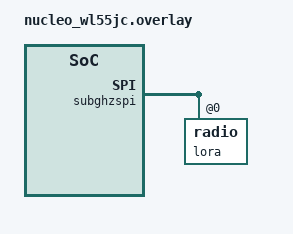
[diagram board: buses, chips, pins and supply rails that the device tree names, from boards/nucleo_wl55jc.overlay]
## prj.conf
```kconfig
# General Zephyr settings
CONFIG_MAIN_STACK_SIZE=2048
CONFIG_SYSTEM_WORKQUEUE_STACK_SIZE=2048
CONFIG_THREAD_NAME=y
# Disable logs
CONFIG_LOG=n

# LoRa PHY and required peripherals
CONFIG_LORA=y
CONFIG_LORA_SX12XX=y
CONFIG_SPI=y
CONFIG_GPIO=y

# NVS required to store LoRaWAN DevNonce
CONFIG_NVS=y
CONFIG_SETTINGS=y

# Random number generator required for several LoRaWAN services
CONFIG_ENTROPY_GENERATOR=y

# LoRaWAN application layer
CONFIG_LORAWAN=y
CONFIG_LORAMAC_REGION_EU868=y
CONFIG_LORAWAN_NVM_SETTINGS=y

# LoRaWAN services required for FUOTA
CONFIG_LORAWAN_SERVICES=y
CONFIG_LORAWAN_APP_CLOCK_SYNC=y
CONFIG_LORAWAN_REMOTE_MULTICAST=y
CONFIG_LORAWAN_FRAG_TRANSPORT=y
# Reduce RAM usage. Increasing min frag size results
# in less required array size of cached fragments
CONFIG_LORAWAN_FRAG_TRANSPORT_MIN_FRAG_SIZE=200
# Set high redundancy
CONFIG_LORAWAN_FRAG_TRANSPORT_MAX_REDUNDANCY=40

# Flash driver to store firmware image
CONFIG_FLASH=y
CONFIG_FLASH_MAP=y
CONFIG_FLASH_PAGE_LAYOUT=y
CONFIG_IMG_MANAGER=y

# Application-side MCUboot configuration
CONFIG_BOOTLOADER_MCUBOOT=y
CONFIG_MCUBOOT_IMG_MANAGER=y
CONFIG_MCUBOOT_SIGNATURE_KEY_FILE="bootloader/mcuboot/root-ec-p256.pem"
CONFIG_MCUBOOT_GENERATE_CONFIRMED_IMAGE=y
```

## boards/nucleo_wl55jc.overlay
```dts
/ {
	chosen {
		zephyr,code-partition = &slot0_partition;
	};
};

/delete-node/ &storage_partition;

&subghzspi {
	lora: radio@0 {
        rfo-low-power;
	};
};

&flash0 {
	partitions {
		compatible = "fixed-partitions";
		#address-cells = <1>;
		#size-cells = <1>;

		boot_partition: partition@0 {
			label = "mcuboot";
			reg = <0x00000000 0xc000>;
		};
		slot0_partition: partition@c000 {
			label = "image-0";
			reg = <0x0000C000 0x16800>;
		};
		slot1_partition: partition@22800 {
			label = "image-1";
			reg = <0x00022800 0x16800>;
		};
		scratch_partition: partition@39000 {
			label = "image-scratch";
			reg = <0x00039000 0x5000>;
		};
		storage_partition: partition@3e000 {
			label = "storage";
			reg = <0x0003e000 0x00002000>;
		};
	};
};
```

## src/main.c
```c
/*
 * LoRaWAN FUOTA sample application
 *
 * Copyright (c) 2022 Martin Jäger <martin@libre.solar>
 * Copyright (c) 2022 tado GmbH
 *
 * SPDX-License-Identifier: Apache-2.0
 */

#include <zephyr/device.h>
#include <zephyr/lorawan/lorawan.h>
#include <zephyr/kernel.h>
#include <zephyr/logging/log.h>

LOG_MODULE_REGISTER(lorawan_fuota_sample, CONFIG_LORAWAN_SERVICES_LOG_LEVEL);

/* Customize based on device configuration */
#define LORAWAN_DEV_EUI		{ 0x00, 0x00, 0x00, 0x00, 0x00, 0x00, 0x00, 0x00 }
#define LORAWAN_JOIN_EUI	{ 0x00, 0x00, 0x00, 0x00, 0x00, 0x00, 0x00, 0x00 }
#define LORAWAN_APP_KEY		{ 0x00, 0x00, 0x00, 0x00, 0x00, 0x00, 0x00, 0x00,\
				  0x00, 0x00, 0x00, 0x00, 0x00, 0x00, 0x00, 0x00 }

#define DELAY K_SECONDS(120)

char data[] = {'h', 'e', 'l', 'l', 'o', 'w', 'o', 'r', 'l', 'd'};

/** Need to be import, to increment active class c sesssions. 
 * Otherwise after multicast group session timeout class A will be forced independently of what 
 * previous device class was. */
/** @todo Consider. What if class C session request arrives and device is already in class C?
 * Specification requires(?) that device "returns" to class A, but never mentions(?) what in case
 * in which device was not in class C mode in the first place. 
 * Additionaly what in case when user application requests device class change when there's active 
 * session which requires proper class to be active.
*/
extern int lorawan_services_class_c_start(void);

static void downlink_info(uint8_t port, bool data_pending, int16_t rssi, int8_t snr,
			  uint8_t len, const uint8_t *data)
{
	LOG_INF("Received from port %d, pending %d, RSSI %ddB, SNR %ddBm",
		port, data_pending, rssi, snr);
	if (data) {
		LOG_HEXDUMP_INF(data, len, "Payload: ");
	}
}

static void datarate_changed(enum lorawan_datarate dr)
{
	uint8_t unused, max_size;

	lorawan_get_payload_sizes(&unused, &max_size);
	LOG_INF("New Datarate: DR %d, Max Payload %d", dr, max_size);
}

static void fuota_finished(void)
{
	LOG_INF("FUOTA finished. Reset device to apply firmware upgrade.");

	/*
	 * In an actual application the firmware should be rebooted here if
	 * no important tasks are pending
	 */
}

void main(void)
{
	const struct device *lora_dev;
	struct lorawan_join_config join_cfg;
	uint8_t dev_eui[] = LORAWAN_DEV_EUI;
	uint8_t join_eui[] = LORAWAN_JOIN_EUI;
	uint8_t app_key[] = LORAWAN_APP_KEY;
	int ret;

	struct lorawan_downlink_cb downlink_cb = {
		.port = LW_RECV_PORT_ANY,
		.cb = downlink_info
	};

	lora_dev = DEVICE_DT_GET(DT_ALIAS(lora0));
	if (!device_is_ready(lora_dev)) {
		LOG_ERR("%s: device not ready.", lora_dev->name);
		return;
	}

	ret = lorawan_start();
	if (ret < 0) {
		LOG_ERR("lorawan_start failed: %d", ret);
		return;
	}

	lorawan_enable_adr(true);
	lorawan_register_downlink_callback(&downlink_cb);
	lorawan_register_dr_changed_callback(datarate_changed);

	join_cfg.mode = LORAWAN_ACT_OTAA;
	join_cfg.dev_eui = dev_eui;
	join_cfg.otaa.join_eui = join_eui;
	join_cfg.otaa.app_key = app_key;
	join_cfg.otaa.nwk_key = app_key;

	LOG_INF("Joining network over OTAA");
	ret = lorawan_join(&join_cfg);
	if (ret < 0) {
		LOG_ERR("lorawan_join_network failed: %d", ret);
		return;
	}

	ret = lorawan_services_class_c_start();
	if (ret < 0)
	{
		LOG_ERR("Failed to set device class C: %d", ret);
	}
	

	/*
	 * Clock synchronization is required to schedule the multicast session
	 * in class C mode. It can also be used independent of FUOTA
	 */
	lorawan_clock_sync_run();

	/*
	 * The multicast session allows to send the same firmware image to
	 * multiple devices of the same kind. This service is also responsible
	 * for switching to class C at a specified time.
	 */
	lorawan_remote_multicast_run();

	/*
	 * The fragmented data transport transfers the actual firmware image.
	 * It could also be used in a class A session, but would take very long
	 * in that case.
	 */
	lorawan_frag_transport_run(fuota_finished);

	/*
	 * As the other services run in the background, we can now run our
	 * normal LoRaWAN application code.
	 */
	while (1) {
		ret = lorawan_send(2, data, sizeof(data),
				   LORAWAN_MSG_UNCONFIRMED);

		/*
		 * Note: The stack may return -EAGAIN if the provided data
		 * length exceeds the maximum possible one for the region and
		 * datarate. But since we are just sending the same data here,
		 * we'll just continue.
		 */
		if (ret == -EAGAIN) {
			LOG_ERR("lorawan_send failed: %d. Continuing...", ret);
			k_sleep(DELAY);
			continue;
		}

		if (ret < 0) {
			LOG_ERR("lorawan_send failed: %d", ret);
			return;
		}

		LOG_INF("Hello World sent!");
		k_sleep(DELAY);
	}
}
```
